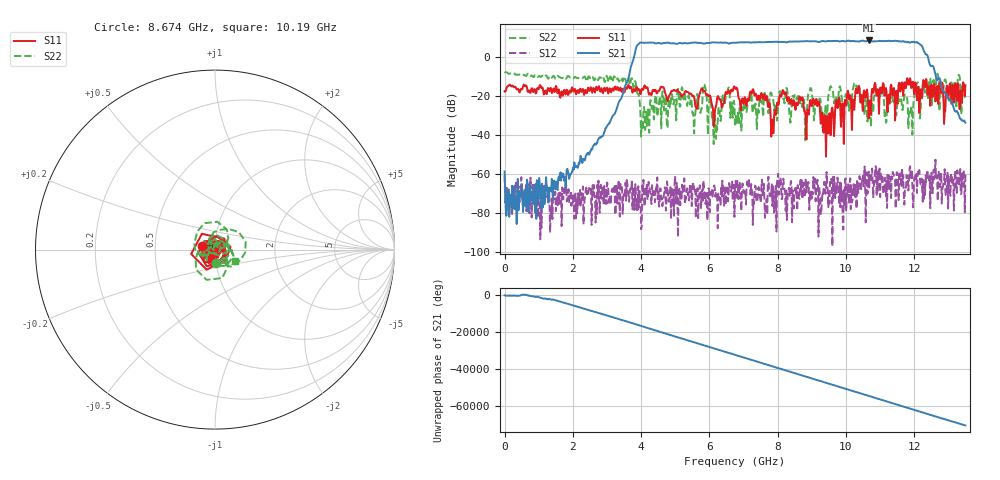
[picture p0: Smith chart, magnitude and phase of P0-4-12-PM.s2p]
!Agilent Technologies,N5230A,MY45000845,A.06.01.05
!Agilent N5230A: A.06.01.05
!Date: Friday, July 13, 2012 16:31:48
!Correction: S11(Full 2 Port(1,2)) S21(Full 2 Port(1,2)) S12(Full 2 Port(1,2)) S22(Full 2 Port(1,2))
!S2P File: Measurements: S11, S21, S12, S22:
# Hz S  dB  R 50
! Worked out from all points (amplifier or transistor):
!   801 points, 300 kHz to 13.5 GHz, reference 50 ohm
!   highest |S21| = 8.3 dB at 10.67 GHz (marker M1)
!   |S21| within 3 dB of that: 3.869 GHz to 12.23 GHz (8.363 GHz wide, 104 % of centre)
!   unconditionally stable (mu >= 1): start of sweep to end of sweep
!   at 2.245 GHz: K = 1076278.63, MAG = -53.0 dB, |S12| = -74.1 dB
!   at 6.75 GHz: K = 452.77, MAG = 7.2 dB, |S12| = -66.5 dB
!   at 13.5 GHz: K = 23040.02, MAG = -33.5 dB, |S12| = -60.0 dB
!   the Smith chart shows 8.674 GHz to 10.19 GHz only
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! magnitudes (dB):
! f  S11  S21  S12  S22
! 300 kHz  -17.7  -58.7  -60.9  -7.7
! 860.9 MHz  -17.1  -74.8  -73.7  -10.3
! 2.261 GHz  -17.9  -52.2  -69.7  -10.7
! 3.24 GHz  -15.3  -28.7  -80.7  -11.1
! 3.915 GHz  -17.2  6.2  -66.2  -18.9
! 4.05 GHz  -17.0  7.1  -68.9  -37.3
! 4.506 GHz  -17.4  7.0  -69.2  -26.3
! 5.552 GHz  -20.6  7.2  -65.9  -39.2
! 5.856 GHz  -17.4  6.7  -72.1  -14.2
! 6.143 GHz  -34.8  7.3  -65.8  -31.4
! 6.531 GHz  -18.6  7.0  -66.4  -18.0
! 6.75 GHz  -15.9  7.1  -66.5  -34.7
! 7.645 GHz  -22.3  7.5  -76.0  -20.2
! 7.864 GHz  -39.1  7.6  -66.3  -21.0
! 8.134 GHz  -17.9  7.6  -72.7  -20.0
! 9.011 GHz  -24.6  7.9  -69.0  -20.2
! 9.416 GHz  -51.1  7.8  -67.7  -24.6
! 10.28 GHz  -18.1  7.8  -71.8  -14.4
! 10.67 GHz  -31.7  8.3  -58.7  -28.2
! 11.26 GHz  -19.5  8.1  -60.8  -22.4
! 12.18 GHz  -16.9  6.1  -65.1  -28.4
! 13.5 GHz  -14.6  -33.7  -60.0  -16.8
